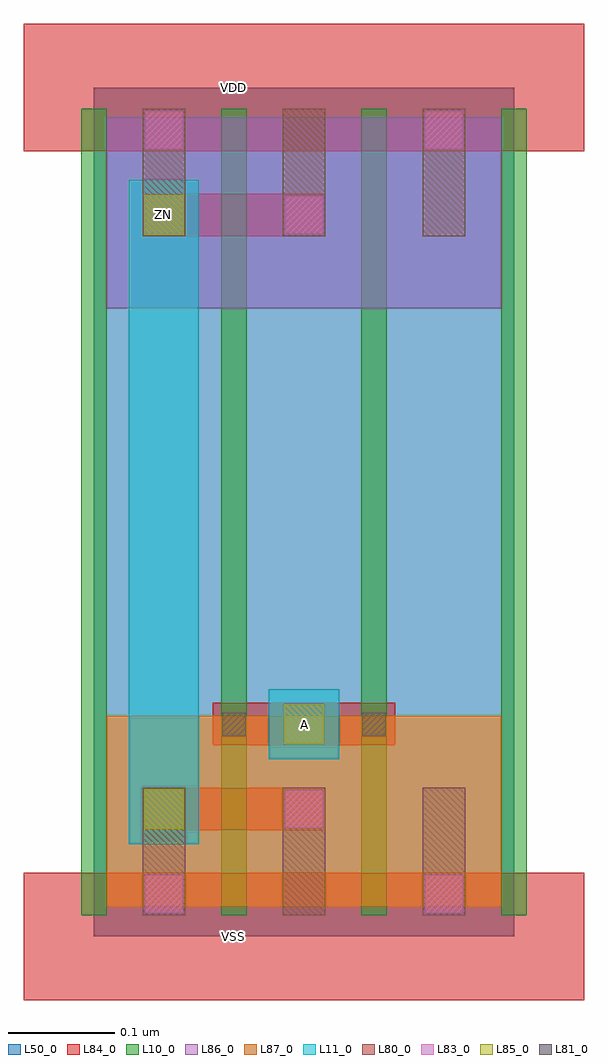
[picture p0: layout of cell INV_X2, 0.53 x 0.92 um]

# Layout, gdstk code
import gdstk
lib = gdstk.Library(unit=1e-6, precision=1e-09)
def R(c, l, rs):  # rectangles x0, y0, x1, y1
    for r in rs: c.add(gdstk.rectangle(r[:2], r[2:], *l))
def A(c, l, x, y, w, h, nx, ny, dx, dy):  # array of equal rectangles
    R(c, l, [(x+i*dx, y+j*dy, x+i*dx+w, y+j*dy+h) for i in range(nx) for j in range(ny)])
L10_0 = (10, 0)
L11_0 = (11, 0)
L50_0 = (50, 0)
L80_0 = (80, 0)
L81_0 = (81, 0)
L83_0 = (83, 0)
L84_0 = (84, 0)
L85_0 = (85, 0)
L86_0 = (86, 0)
L87_0 = (87, 0)

inv_x2 = lib.new_cell('INV_X2')
A(inv_x2, L10_0, -0.012, 0.02, 0.024, 0.76, 4, 1, 0.132, 0)
R(inv_x2, L11_0, [(0.033,0.087,0.099,0.713), (0.165,0.167,0.231,0.233)])
R(inv_x2, L50_0, [(0,0,0.396,0.8)])
A(inv_x2, L80_0, 0.046, 0.02, 0.04, 0.12, 3, 2, 0.132, 0.64)
R(inv_x2, L81_0, [(0.121,0.189,0.143,0.211), (0.253,0.189,0.275,0.211)])
R(inv_x2, L83_0, [(0.048,0.022,0.084,0.058), (0.312,0.022,0.348,0.058), (0.18,0.102,0.216,0.138), (0.18,0.662,0.216,0.698), (0.048,0.742,0.084,0.778), (0.312,0.742,0.348,0.778)])
R(inv_x2, L84_0, [(-0.066,-0.06,0.462,0.06), (0.046,0.1,0.218,0.14), (0.112,0.18,0.284,0.22), (0.046,0.66,0.218,0.7), (-0.066,0.74,0.462,0.86)])
R(inv_x2, L85_0, [(0.047,0.101,0.085,0.139), (0.179,0.181,0.217,0.219), (0.047,0.661,0.085,0.699)])
R(inv_x2, L86_0, [(0.012,0.592,0.384,0.772)])
R(inv_x2, L87_0, [(0.012,0.028,0.384,0.208)])
inv_x2.add(gdstk.Label('VSS', (0.132,0), layer=88, texttype=0))
inv_x2.add(gdstk.Label('VDD', (0.132,0.8), layer=88, texttype=0))
inv_x2.add(gdstk.Label('A', (0.198,0.2), layer=31, texttype=0))
inv_x2.add(gdstk.Label('ZN', (0.066,0.68), layer=31, texttype=0))

lib.write_gds('INV_X2.gds')
